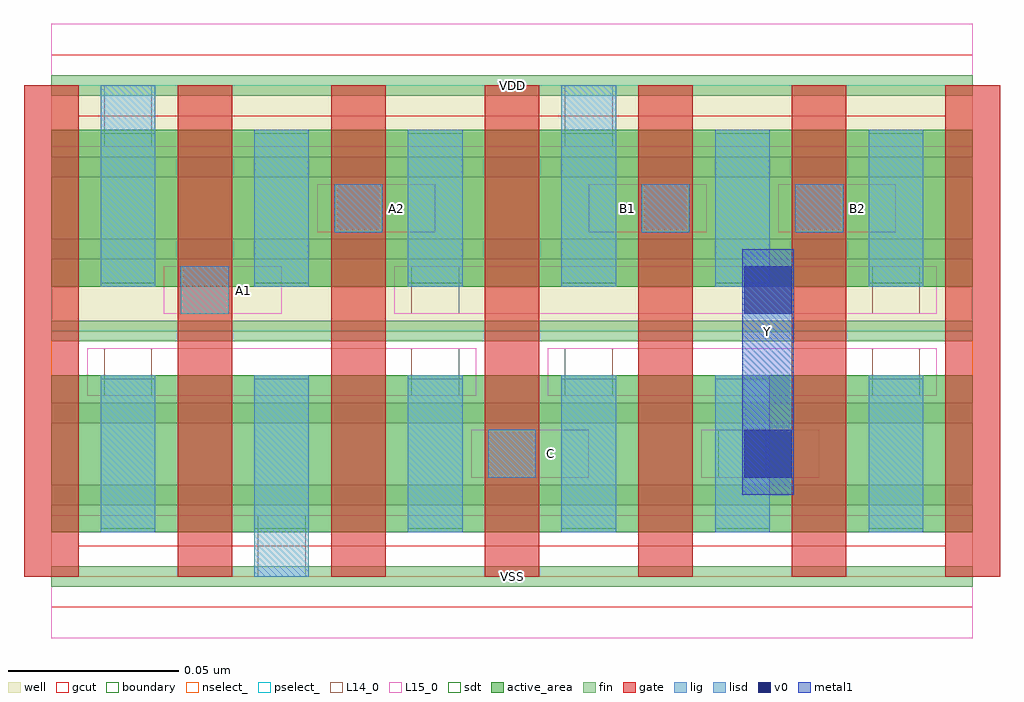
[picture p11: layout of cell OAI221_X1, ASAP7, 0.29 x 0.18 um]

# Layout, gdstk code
import gdstk
lib = gdstk.Library(unit=1e-6, precision=2.5e-10)
def R(c, l, rs):  # rectangles x0, y0, x1, y1
    for r in rs: c.add(gdstk.rectangle(r[:2], r[2:], *l))
def A(c, l, x, y, w, h, nx, ny, dx, dy):  # array of equal rectangles
    R(c, l, [(x+i*dx, y+j*dy, x+i*dx+w, y+j*dy+h) for i in range(nx) for j in range(ny)])
def P(c, l, *ps):  # polygons
    for p in ps: c.add(gdstk.Polygon(p, *l))
well = (1, 0)
fin = (2, 0)
gate = (7, 0)
gcut = (10, 0)
active_area = (11, 0)
nselect_ = (12, 0)
pselect_ = (13, 0)
L14_0 = (14, 0)
L15_0 = (15, 0)
lig = (16, 0)
lisd = (17, 0)
v0 = (18, 0)
metal1 = (19, 0)
sdt = (88, 0)
boundary = (100, 0)

oai221_x1 = lib.new_cell('OAI221_X1')
R(oai221_x1, well, [(0,0.072,0.27,0.144)])
A(oai221_x1, fin, 0, -0.003, 0.27, 0.006, 1, 7, 0, 0.024)
A(oai221_x1, gate, -0.008, 0, 0.016, 0.144, 7, 1, 0.045, 0)
P(oai221_x1, gcut, [(0,-0.009),(0,0),(-0.008,0),(-0.008,0.135),(0.008,0.135),(0.008,0.009),(0.262,0.009),(0.262,0.135),(-0.008,0.135),(-0.008,0.144),(0,0.144),(0,0.153),(0.27,0.153),(0.27,0.144),(0.278,0.144),(0.278,0),(0.27,0),(0.27,-0.009)])
R(oai221_x1, active_area, [(0,0.013,0.27,0.059), (0,0.085,0.27,0.131)])
R(oai221_x1, nselect_, [(0,0,0.27,0.072)])
R(oai221_x1, pselect_, [(0,0.072,0.27,0.144)])
R(oai221_x1, L14_0, [(0.0605,0,0.0745,0.018), (0.128,0.029,0.142,0.043), (0.1955,0.029,0.2095,0.043), (0.0155,0.053,0.0295,0.067), (0.1055,0.053,0.1195,0.067), (0.1505,0.053,0.1645,0.067), (0.2405,0.053,0.2545,0.067), (0.038,0.077,0.052,0.091), (0.1055,0.077,0.1195,0.091), (0.2405,0.077,0.2545,0.091), (0.083,0.101,0.097,0.115), (0.173,0.101,0.187,0.115), (0.218,0.101,0.232,0.115), (0.0155,0.126,0.0295,0.144), (0.1505,0.126,0.1645,0.144)])
R(oai221_x1, L15_0, [(0,-0.018,0.27,0.018), (0.123,0.029,0.1575,0.043), (0.1905,0.029,0.225,0.043), (0.0105,0.053,0.1245,0.067), (0.1455,0.053,0.2595,0.067), (0.033,0.077,0.0675,0.091), (0.1005,0.077,0.2595,0.091), (0.078,0.101,0.1125,0.115), (0.1575,0.101,0.192,0.115), (0.213,0.101,0.2475,0.115), (0,0.126,0.27,0.162)])
R(oai221_x1, lig, [(0.128,0.029,0.142,0.043), (0.038,0.077,0.052,0.091), (0.083,0.101,0.097,0.115), (0.173,0.101,0.187,0.115), (0.218,0.101,0.232,0.115)])
A(oai221_x1, lisd, 0.1045, 0.013, 0.016, 0.046, 4, 1, 0.045, 0)
R(oai221_x1, lisd, [(0.0595,0,0.0755,0.059), (0.0145,0.013,0.0305,0.059), (0.0145,0.085,0.0305,0.144), (0.0595,0.085,0.0755,0.131), (0.1045,0.085,0.1205,0.131), (0.1495,0.085,0.1655,0.144), (0.1945,0.085,0.2105,0.131), (0.2395,0.085,0.2555,0.131)])
R(oai221_x1, v0, [(0.203,0.029,0.217,0.043), (0.203,0.077,0.217,0.091)])
R(oai221_x1, metal1, [(0.2025,0.024,0.2175,0.096)])
A(oai221_x1, sdt, 0.0145, 0.014, 0.016, 0.044, 6, 2, 0.045, 0.072)
R(oai221_x1, boundary, [(0,0,0.27,0.144)])
oai221_x1.add(gdstk.Label('B1', (0.1688,0.108), layer=15, texttype=251))
oai221_x1.add(gdstk.Label('VSS', (0.135,0), layer=15, texttype=251))
oai221_x1.add(gdstk.Label('VDD', (0.135,0.144), layer=15, texttype=251))
oai221_x1.add(gdstk.Label('B2', (0.2363,0.108), layer=15, texttype=251))
oai221_x1.add(gdstk.Label('VSS', (0.135,0), layer=15, texttype=251))
oai221_x1.add(gdstk.Label('VDD', (0.135,0.144), layer=15, texttype=251))
oai221_x1.add(gdstk.Label('A1', (0.0563,0.084), layer=15, texttype=251))
oai221_x1.add(gdstk.Label('VSS', (0.135,0), layer=15, texttype=251))
oai221_x1.add(gdstk.Label('VDD', (0.135,0.144), layer=15, texttype=251))
oai221_x1.add(gdstk.Label('C', (0.1463,0.036), layer=15, texttype=251))
oai221_x1.add(gdstk.Label('VSS', (0.135,0), layer=15, texttype=251))
oai221_x1.add(gdstk.Label('VDD', (0.135,0.144), layer=15, texttype=251))
oai221_x1.add(gdstk.Label('VSS', (0.135,0), layer=15, texttype=251))
oai221_x1.add(gdstk.Label('VDD', (0.135,0.144), layer=15, texttype=251))
oai221_x1.add(gdstk.Label('A2', (0.1013,0.108), layer=15, texttype=251))
oai221_x1.add(gdstk.Label('VSS', (0.135,0), layer=15, texttype=251))
oai221_x1.add(gdstk.Label('VDD', (0.135,0.144), layer=15, texttype=251))
oai221_x1.add(gdstk.Label('VSS', (0.135,0), layer=3, texttype=251))
oai221_x1.add(gdstk.Label('VSS', (0.135,0), layer=3, texttype=251))
oai221_x1.add(gdstk.Label('VSS', (0.135,0), layer=3, texttype=251))
oai221_x1.add(gdstk.Label('VSS', (0.135,0), layer=3, texttype=251))
oai221_x1.add(gdstk.Label('VSS', (0.135,0), layer=3, texttype=251))
oai221_x1.add(gdstk.Label('VSS', (0.135,0), layer=3, texttype=251))
oai221_x1.add(gdstk.Label('VDD', (0.135,0.144), layer=1, texttype=251))
oai221_x1.add(gdstk.Label('VDD', (0.135,0.144), layer=1, texttype=251))
oai221_x1.add(gdstk.Label('VDD', (0.135,0.144), layer=1, texttype=251))
oai221_x1.add(gdstk.Label('VDD', (0.135,0.144), layer=1, texttype=251))
oai221_x1.add(gdstk.Label('VDD', (0.135,0.144), layer=1, texttype=251))
oai221_x1.add(gdstk.Label('VDD', (0.135,0.144), layer=1, texttype=251))
oai221_x1.add(gdstk.Label('Y', (0.21,0.072), layer=19, texttype=251))

lib.write_gds('OAI221_X1.gds')
